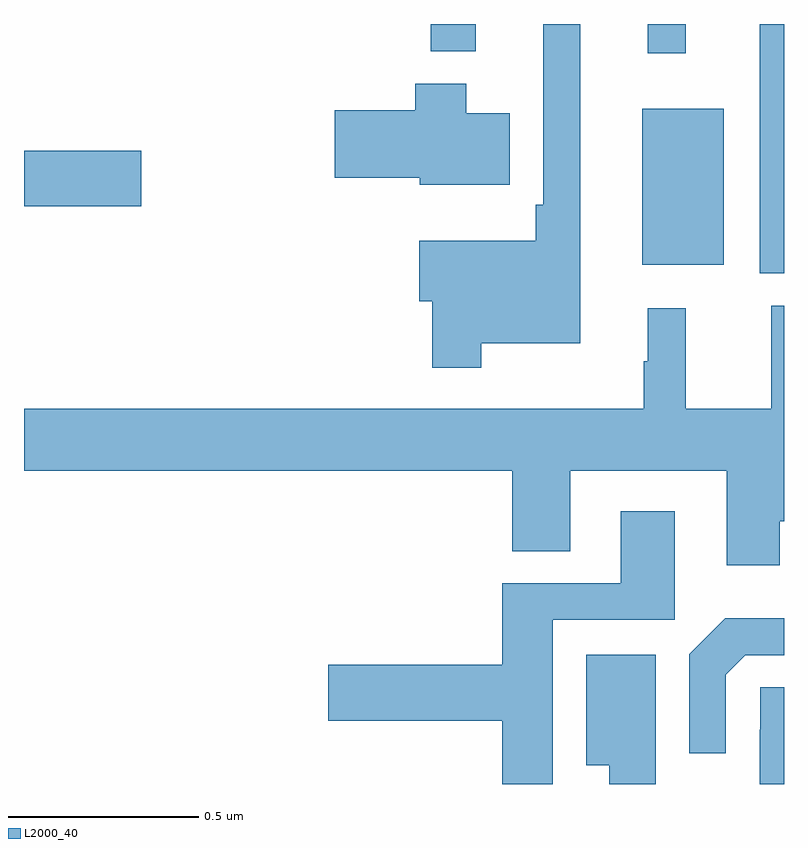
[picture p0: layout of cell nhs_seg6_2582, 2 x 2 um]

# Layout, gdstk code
import gdstk
lib = gdstk.Library(unit=1e-6, precision=1e-09)
def R(c, l, rs):  # rectangles x0, y0, x1, y1
    for r in rs: c.add(gdstk.rectangle(r[:2], r[2:], *l))
def P(c, l, *ps):  # polygons
    for p in ps: c.add(gdstk.Polygon(p, *l))
L2000_40 = (2000, 40)

nhs_seg6_2582 = lib.new_cell('nhs_seg6_2582')
R(nhs_seg6_2582, L2000_40, [(146.936,959.844,147,960.5), (146.627,959.867,146.842,960.277), (145,960.02,145.309,960.167), (146.642,960.423,146.741,960.5), (146.071,960.428,146.189,960.5)])
P(nhs_seg6_2582, L2000_40, [(146.203,959.66),(146.464,959.66),(146.464,960.5),(146.367,960.5),(146.367,960.025),(146.347,960.025),(146.347,959.929),(146.04,959.929),(146.04,959.771),(146.074,959.771),(146.074,959.595),(146.203,959.595)],
  [(146.278,960.265),(146.164,960.265),(146.164,960.343),(146.03,960.343),(146.03,960.273),(145.818,960.273),(145.818,960.095),(146.042,960.095),(146.042,960.077),(146.278,960.077)],
  [(146.989,959.191),(147,959.191),(147,959.759),(146.966,959.759),(146.966,959.488),(146.742,959.488),(146.742,959.752),(146.642,959.752),(146.642,959.612),(146.631,959.612),(146.631,959.488),(145,959.488),(145,959.324),(146.285,959.324),(146.285,959.113),(146.437,959.113),(146.437,959.324),(146.849,959.324),(146.849,959.076),(146.989,959.076)],
  [(146.392,958.932),(146.713,958.932),(146.713,959.218),(146.57,959.218),(146.57,959.028),(146.258,959.028),(146.258,958.814),(145.8,958.814),(145.8,958.667),(146.258,958.667),(146.258,958.5),(146.392,958.5)],
  [(146.847,958.788),(146.898,958.839),(147,958.839),(147,958.936),(146.845,958.936),(146.751,958.842),(146.751,958.581),(146.847,958.581)],
  [(146.662,958.84),(146.48,958.84),(146.48,958.55),(146.54,958.55),(146.54,958.5),(146.662,958.5)],
  [(147,958.754),(146.937,958.754),(146.937,958.643),(146.936,958.643),(146.936,958.5),(147,958.5)])

lib.write_gds('nhs_seg6_2582.gds')
